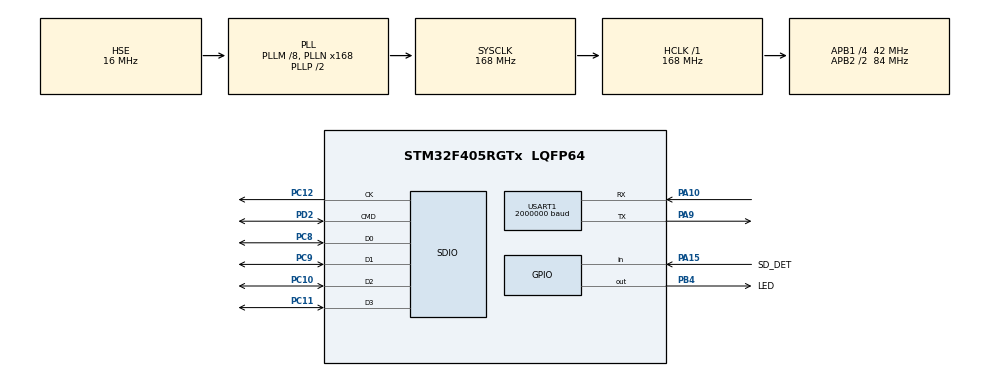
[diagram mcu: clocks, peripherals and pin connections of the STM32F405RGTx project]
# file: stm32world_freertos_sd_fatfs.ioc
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Dma.Request0=SDIO
Dma.SDIO.0.Direction=DMA_PERIPH_TO_MEMORY
Dma.SDIO.0.FIFOMode=DMA_FIFOMODE_ENABLE
Dma.SDIO.0.FIFOThreshold=DMA_FIFO_THRESHOLD_FULL
Dma.SDIO.0.Instance=DMA2_Stream3
Dma.SDIO.0.MemBurst=DMA_MBURST_INC4
Dma.SDIO.0.MemDataAlignment=DMA_MDATAALIGN_WORD
Dma.SDIO.0.MemInc=DMA_MINC_ENABLE
Dma.SDIO.0.Mode=DMA_PFCTRL
Dma.SDIO.0.PeriphBurst=DMA_PBURST_INC4
Dma.SDIO.0.PeriphDataAlignment=DMA_PDATAALIGN_WORD
Dma.SDIO.0.PeriphInc=DMA_PINC_DISABLE
Dma.SDIO.0.Priority=DMA_PRIORITY_LOW
FATFS.BSP.number=1
FATFS.USE_DMA_CODE_SD=1
FATFS._FS_EXFAT=1
FATFS._FS_REENTRANT=0
FATFS._USE_CHMOD=1
FATFS._USE_FIND=1
FATFS._USE_FORWARD=1
FATFS._USE_LABEL=1
FATFS._USE_LFN=2
FATFS._USE_MUTEX=1
FATFS._VOLUMES=8
FATFS0.BSP.STBoard=false
FATFS0.BSP.api=Unknown
FATFS0.BSP.instance=PA15
FATFS0.BSP.ip=GPIO
FATFS0.BSP.mode=Input
FATFS0.BSP.name=Detect_SDIO
FATFS0.BSP.solution=PA15
FREERTOS.INCLUDE_uxTaskGetStackHighWaterMark2=1
FREERTOS.Mutexes01=ledMutex,Dynamic,NULL,Available;printMutex,Dynamic,NULL,Available
FREERTOS.Tasks01=defaultTask,24,128,StartDefaultTask,Default,NULL,Dynamic,NULL,NULL;ledTask,8,128,StartLedTask,Default,NULL,Dynamic,NULL,NULL;tickTask,8,512,StartTickTask,Default,NULL,Dynamic,NULL,NULL;statusTask,8,256,StartStatusTask,Default,NULL,Dynamic,NULL,NULL;benchTask,8,512,StartBenchTask,Default,NULL,Dynamic,NULL,NULL
FREERTOS.configENABLE_FPU=1
FREERTOS.configGENERATE_RUN_TIME_STATS=1
FREERTOS.configRECORD_STACK_HIGH_ADDRESS=1
FREERTOS.configTOTAL_HEAP_SIZE=65536
FREERTOS.configUSE_NEWLIB_REENTRANT=1
FREERTOS.configUSE_STATS_FORMATTING_FUNCTIONS=1
Mcu.Family=STM32F4
Mcu.Name=STM32F405RGTx
Mcu.Package=LQFP64
NVIC.DMA2_Stream3_IRQn=true\:5\:0\:false\:false\:true\:true\:false\:true\:true
NVIC.PriorityGroup=NVIC_PRIORITYGROUP_4
NVIC.SDIO_IRQn=true\:5\:0\:false\:false\:true\:true\:true\:true\:true
NVIC.TIM8_TRG_COM_TIM14_IRQn=true\:15\:0\:false\:false\:true\:false\:false\:true\:true
NVIC.TIM8_UP_TIM13_IRQn=true\:5\:0\:false\:false\:true\:true\:true\:true\:true
NVIC.TimeBase=TIM8_TRG_COM_TIM14_IRQn
NVIC.TimeBaseIP=TIM14
PA10.Mode=Asynchronous
PA10.Signal=USART1_RX
PA13.Mode=Serial_Wire
PA13.Signal=SYS_JTMS-SWDIO
PA14.Mode=Serial_Wire
PA14.Signal=SYS_JTCK-SWCLK
PA15.GPIO_Label=SD_DET
PA15.GPIO_PuPd=GPIO_PULLDOWN
PA15.Signal=GPIO_Input
PA9.Mode=Asynchronous
PA9.Signal=USART1_TX
PB4.GPIO_Label=LED
PB4.GPIO_ModeDefaultOutputPP=GPIO_MODE_OUTPUT_OD
PB4.GPIO_PuPd=GPIO_NOPULL
PB4.PinState=GPIO_PIN_SET
PB4.Signal=GPIO_Output
PC10.Mode=SD_4_bits_Wide_bus
PC10.Signal=SDIO_D2
PC11.Mode=SD_4_bits_Wide_bus
PC11.Signal=SDIO_D3
PC12.Mode=SD_4_bits_Wide_bus
PC12.Signal=SDIO_CK
PC8.Mode=SD_4_bits_Wide_bus
PC8.Signal=SDIO_D0
PC9.Mode=SD_4_bits_Wide_bus
PC9.Signal=SDIO_D1
PD2.Mode=SD_4_bits_Wide_bus
PD2.Signal=SDIO_CMD
PH0-OSC_IN.Mode=HSE-External-Oscillator
PH0-OSC_IN.Signal=RCC_OSC_IN
PH1-OSC_OUT.Mode=HSE-External-Oscillator
PH1-OSC_OUT.Signal=RCC_OSC_OUT
ProjectManager.HeapSize=0x200
ProjectManager.StackSize=0x400
ProjectManager.TargetToolchain=STM32CubeIDE
RCC.48MHZClocksFreq_Value=48000000
RCC.AHBFreq_Value=168000000
RCC.APB1CLKDivider=RCC_HCLK_DIV4
RCC.APB1Freq_Value=42000000
RCC.APB1TimFreq_Value=84000000
RCC.APB2CLKDivider=RCC_HCLK_DIV2
RCC.APB2Freq_Value=84000000
RCC.APB2TimFreq_Value=168000000
RCC.CortexFreq_Value=168000000
RCC.HCLKFreq_Value=168000000
RCC.HSE_VALUE=16000000
RCC.HSI_VALUE=16000000
RCC.LSE_VALUE=32768
RCC.PLLM=8
RCC.PLLN=168
RCC.PLLQ=7
RCC.PLLSourceVirtual=RCC_PLLSOURCE_HSE
RCC.SYSCLKFreq_VALUE=168000000
RCC.SYSCLKSource=RCC_SYSCLKSOURCE_PLLCLK
RCC.VCOOutputFreq_Value=336000000
TIM13.Period=10 - 1
TIM13.Prescaler=84 - 1
USART1.BaudRate=2000000
USART1.VirtualMode=VM_ASYNC
VP_FATFS_VS_SDIO.Mode=SDIO
VP_FREERTOS_VS_CMSIS_V2.Mode=CMSIS_V2
VP_SYS_VS_tim14.Mode=TIM14
VP_TIM13_VS_ClockSourceINT.Mode=Enable_Timer
board=custom

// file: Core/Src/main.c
/* USER CODE BEGIN Header */
/**
 ******************************************************************************
 * @file           : main.c
 * @brief          : Main program body
 ******************************************************************************
 * @attention
 *
 * Copyright (c) 2024 Lars Boegild Thomsen <lbthomsen@gmail.com>
 * All rights reserved.
 *
 * This software is licensed under terms that can be found in the LICENSE file
 * in the root directory of this software component.
 * If no LICENSE file comes with this software, it is provided AS-IS.
 *
 ******************************************************************************
 */
/* USER CODE END Header */
#include "main.h"
#include "cmsis_os.h"
#include "fatfs.h"

/* USER CODE BEGIN Includes */
#include <stdio.h>
/* USER CODE END Includes */

SD_HandleTypeDef hsd;
DMA_HandleTypeDef hdma_sdio;

TIM_HandleTypeDef htim13;

UART_HandleTypeDef huart1;

/* Definitions for defaultTask */
osThreadId_t defaultTaskHandle;
const osThreadAttr_t defaultTask_attributes = {
        .name = "defaultTask",
        .stack_size = 128 * 4,
        .priority = (osPriority_t) osPriorityNormal,
};
/* Definitions for ledTask */
osThreadId_t ledTaskHandle;
const osThreadAttr_t ledTask_attributes = {
        .name = "ledTask",
        .stack_size = 128 * 4,
        .priority = (osPriority_t) osPriorityLow,
};
/* Definitions for tickTask */
osThreadId_t tickTaskHandle;
const osThreadAttr_t tickTask_attributes = {
        .name = "tickTask",
        .stack_size = 512 * 4,
        .priority = (osPriority_t) osPriorityLow,
};
/* Definitions for statusTask */
osThreadId_t statusTaskHandle;
const osThreadAttr_t statusTask_attributes = {
        .name = "statusTask",
        .stack_size = 256 * 4,
        .priority = (osPriority_t) osPriorityLow,
};
/* Definitions for benchTask */
osThreadId_t benchTaskHandle;
const osThreadAttr_t benchTask_attributes = {
        .name = "benchTask",
        .stack_size = 512 * 4,
        .priority = (osPriority_t) osPriorityLow,
};
/* Definitions for ledMutex */
osMutexId_t ledMutexHandle;
const osMutexAttr_t ledMutex_attributes = {
        .name = "ledMutex"
};
/* Definitions for printMutex */
osMutexId_t printMutexHandle;
const osMutexAttr_t printMutex_attributes = {
        .name = "printMutex"
};
/* USER CODE BEGIN PV */

const char total_uptime_filename[] = "uptime.dat";

uint32_t total_uptime = 0;

// Counter updated from high freq timer
volatile unsigned long ulHighFrequencyTimerTicks;

// Pre-allocate all the heap for FreeRTOS.  FreeRTOS will do this by itself if this define is
// not set.
#ifdef configAPPLICATION_ALLOCATED_HEAP
uint8_t ucHeap[configTOTAL_HEAP_SIZE] __attribute__((section(".ccmram"))); // Put in ccmram
#endif

int32_t a[10000] = { 0 };

/* USER CODE END PV */

void SystemClock_Config(void);
static void MX_GPIO_Init(void);
static void MX_DMA_Init(void);
static void MX_SDIO_SD_Init(void);
static void MX_USART1_UART_Init(void);
static void MX_TIM13_Init(void);
void StartDefaultTask(void *argument);
void StartLedTask(void *argument);
void StartTickTask(void *argument);
void StartStatusTask(void *argument);
void StartBenchTask(void *argument);

/* USER CODE BEGIN 0 */

// Send printf to uart1
int _write(int fd, char *ptr, int len) {
    HAL_StatusTypeDef hstatus;

    if (fd == 1 || fd == 2) {
        hstatus = HAL_UART_Transmit(&huart1, (uint8_t*) ptr, len, HAL_MAX_DELAY);
        if (hstatus == HAL_OK)
            return len;
        else
            return -1;
    }
    return -1;
}

void configureTimerForRunTimeStats(void) {
    ulHighFrequencyTimerTicks = 0;
    HAL_TIM_Base_Start_IT(&htim13);
}

unsigned long getRunTimeCounterValue(void) {
    return ulHighFrequencyTimerTicks;
}

/* USER CODE END 0 */

int main(void)
{

    /* MCU Configuration--------------------------------------------------------*/

    /* Reset of all peripherals, Initializes the Flash interface and the Systick. */
    HAL_Init();

    /* Configure the system clock */
    SystemClock_Config();

    /* Initialize all configured peripherals */
    MX_GPIO_Init();
    MX_DMA_Init();
    MX_SDIO_SD_Init();
    MX_USART1_UART_Init();
    MX_FATFS_Init();
    MX_TIM13_Init();
    /* USER CODE BEGIN 2 */

    printf("\n\n\n\n--------\nStarting\n");

    uint32_t wbytes, rbytes; /* File write counts */

    if (f_mount(&SDFatFS, (TCHAR const*) SDPath, 0) != FR_OK) {
        printf("Unable to mount disk\n");
        Error_Handler();
    }

    if (f_open(&SDFile, total_uptime_filename, FA_OPEN_EXISTING | FA_READ) == FR_OK) {
        if (f_read(&SDFile, &total_uptime, sizeof(total_uptime), (void*) &rbytes) == FR_OK) {
            printf("Total uptime = %lu\n", total_uptime);
            f_close(&SDFile);
        } else {
            printf("Unable to read\n");
            Error_Handler();
        }
    } else {
        // File did not exist - let's create it
        if (f_open(&SDFile, total_uptime_filename, FA_CREATE_ALWAYS | FA_WRITE) == FR_OK) {
            if (f_write(&SDFile, &total_uptime, sizeof(total_uptime), (void*) &wbytes) == FR_OK) {
                printf("File %s created\n", total_uptime_filename);
                f_close(&SDFile);
            } else {
                printf("Unable to write\n");
                Error_Handler();
            }
        } else {
            printf("Unable to create\n");
            Error_Handler();
        }
    }

    /* USER CODE END 2 */

    /* Init scheduler */
    osKernelInitialize();
    /* Create the mutex(es) */
    /* creation of ledMutex */
    ledMutexHandle = osMutexNew(&ledMutex_attributes);

    /* creation of printMutex */
    printMutexHandle = osMutexNew(&printMutex_attributes);

    /* Create the thread(s) */
    /* creation of defaultTask */
    defaultTaskHandle = osThreadNew(StartDefaultTask, NULL, &defaultTask_attributes);

    /* creation of ledTask */
    ledTaskHandle = osThreadNew(StartLedTask, NULL, &ledTask_attributes);

    /* creation of tickTask */
    tickTaskHandle = osThreadNew(StartTickTask, NULL, &tickTask_attributes);

    /* creation of statusTask */
    statusTaskHandle = osThreadNew(StartStatusTask, NULL, &statusTask_attributes);

    /* creation of benchTask */
    benchTaskHandle = osThreadNew(StartBenchTask, NULL, &benchTask_attributes);

    /* Start scheduler */
    osKernelStart();

    /* We should never get here as control is now taken by the scheduler */

    /* Infinite loop */
    while (1) {

    }
}

void SystemClock_Config(void)
{
    RCC_OscInitTypeDef RCC_OscInitStruct = { 0 };
    RCC_ClkInitTypeDef RCC_ClkInitStruct = { 0 };

    /** Configure the main internal regulator output voltage
     */
    __HAL_RCC_PWR_CLK_ENABLE();
    __HAL_PWR_VOLTAGESCALING_CONFIG(PWR_REGULATOR_VOLTAGE_SCALE1);

    /** Initializes the RCC Oscillators according to the specified parameters
     * in the RCC_OscInitTypeDef structure.
     */
    RCC_OscInitStruct.OscillatorType = RCC_OSCILLATORTYPE_HSE;
    RCC_OscInitStruct.HSEState = RCC_HSE_ON;
    RCC_OscInitStruct.PLL.PLLState = RCC_PLL_ON;
    RCC_OscInitStruct.PLL.PLLSource = RCC_PLLSOURCE_HSE;
    RCC_OscInitStruct.PLL.PLLM = 8;
    RCC_OscInitStruct.PLL.PLLN = 168;
    RCC_OscInitStruct.PLL.PLLP = RCC_PLLP_DIV2;
    RCC_OscInitStruct.PLL.PLLQ = 7;
    if (HAL_RCC_OscConfig(&RCC_OscInitStruct) != HAL_OK)
            {
        Error_Handler();
    }

    /** Initializes the CPU, AHB and APB buses clocks
     */
    RCC_ClkInitStruct.ClockType = RCC_CLOCKTYPE_HCLK | RCC_CLOCKTYPE_SYSCLK
            | RCC_CLOCKTYPE_PCLK1 | RCC_CLOCKTYPE_PCLK2;
    RCC_ClkInitStruct.SYSCLKSource = RCC_SYSCLKSOURCE_PLLCLK;
    RCC_ClkInitStruct.AHBCLKDivider = RCC_SYSCLK_DIV1;
    RCC_ClkInitStruct.APB1CLKDivider = RCC_HCLK_DIV4;
    RCC_ClkInitStruct.APB2CLKDivider = RCC_HCLK_DIV2;

    if (HAL_RCC_ClockConfig(&RCC_ClkInitStruct, FLASH_LATENCY_5) != HAL_OK)
            {
        Error_Handler();
    }
}

static void MX_SDIO_SD_Init(void)
{

    hsd.Instance = SDIO;
    hsd.Init.ClockEdge = SDIO_CLOCK_EDGE_RISING;
    hsd.Init.ClockBypass = SDIO_CLOCK_BYPASS_DISABLE;
    hsd.Init.ClockPowerSave = SDIO_CLOCK_POWER_SAVE_DISABLE;
    hsd.Init.BusWide = SDIO_BUS_WIDE_4B;
    hsd.Init.HardwareFlowControl = SDIO_HARDWARE_FLOW_CONTROL_DISABLE;
    hsd.Init.ClockDiv = 0;
    /* USER CODE BEGIN SDIO_Init 2 */
    hsd.Init.BusWide = SDIO_BUS_WIDE_1B;
    /* USER CODE END SDIO_Init 2 */

}

static void MX_TIM13_Init(void)
{

    htim13.Instance = TIM13;
    htim13.Init.Prescaler = 84 - 1;
    htim13.Init.CounterMode = TIM_COUNTERMODE_UP;
    htim13.Init.Period = 10 - 1;
    htim13.Init.ClockDivision = TIM_CLOCKDIVISION_DIV1;
    htim13.Init.AutoReloadPreload = TIM_AUTORELOAD_PRELOAD_DISABLE;
    if (HAL_TIM_Base_Init(&htim13) != HAL_OK)
            {
        Error_Handler();
    }

}

static void MX_USART1_UART_Init(void)
{

    huart1.Instance = USART1;
    huart1.Init.BaudRate = 2000000;
    huart1.Init.WordLength = UART_WORDLENGTH_8B;
    huart1.Init.StopBits = UART_STOPBITS_1;
    huart1.Init.Parity = UART_PARITY_NONE;
    huart1.Init.Mode = UART_MODE_TX_RX;
    huart1.Init.HwFlowCtl = UART_HWCONTROL_NONE;
    huart1.Init.OverSampling = UART_OVERSAMPLING_16;
    if (HAL_UART_Init(&huart1) != HAL_OK)
            {
        Error_Handler();
    }

}

static void MX_DMA_Init(void)
{

    /* DMA controller clock enable */
    __HAL_RCC_DMA2_CLK_ENABLE();

    /* DMA interrupt init */
    /* DMA2_Stream3_IRQn interrupt configuration */
    HAL_NVIC_SetPriority(DMA2_Stream3_IRQn, 5, 0);
    HAL_NVIC_EnableIRQ(DMA2_Stream3_IRQn);

}

static void MX_GPIO_Init(void)
{
    GPIO_InitTypeDef GPIO_InitStruct = { 0 };

    /* GPIO Ports Clock Enable */
    __HAL_RCC_GPIOH_CLK_ENABLE();
    __HAL_RCC_GPIOC_CLK_ENABLE();
    __HAL_RCC_GPIOA_CLK_ENABLE();
    __HAL_RCC_GPIOD_CLK_ENABLE();
    __HAL_RCC_GPIOB_CLK_ENABLE();

    /*Configure GPIO pin Output Level */
    HAL_GPIO_WritePin(LED_GPIO_Port, LED_Pin, GPIO_PIN_SET);

    /*Configure GPIO pin : SD_DET_Pin */
    GPIO_InitStruct.Pin = SD_DET_Pin;
    GPIO_InitStruct.Mode = GPIO_MODE_INPUT;
    GPIO_InitStruct.Pull = GPIO_PULLDOWN;
    HAL_GPIO_Init(SD_DET_GPIO_Port, &GPIO_InitStruct);

    /*Configure GPIO pin : LED_Pin */
    GPIO_InitStruct.Pin = LED_Pin;
    GPIO_InitStruct.Mode = GPIO_MODE_OUTPUT_OD;
    GPIO_InitStruct.Pull = GPIO_NOPULL;
    GPIO_InitStruct.Speed = GPIO_SPEED_FREQ_LOW;
    HAL_GPIO_Init(LED_GPIO_Port, &GPIO_InitStruct);

}

void StartDefaultTask(void *argument)
{
    for (;;)
            {
        osDelay(1);
    }
}

void StartLedTask(void *argument)
{
    /* USER CODE BEGIN StartLedTask */
    /* Infinite loop */
    for (;;) {
        osDelay(500);
        HAL_GPIO_TogglePin(LED_GPIO_Port, LED_Pin);
    }
    /* USER CODE END StartLedTask */
}

void StartTickTask(void *argument)
{
    /* USER CODE BEGIN StartTickTask */

    /* Infinite loop */
    for (;;) {

        osDelay(1000);

        ++total_uptime;

        osMutexWait(printMutexHandle, osWaitForever);
        printf("Tick %lu (total = %lu)\n", osKernelGetTickCount() / 1000, total_uptime);
        osMutexRelease(printMutexHandle);

        uint32_t wbytes;
        if (f_open(&SDFile, total_uptime_filename, FA_OPEN_EXISTING | FA_WRITE) == FR_OK) {
            if (f_write(&SDFile, &total_uptime, sizeof(total_uptime), (void*) &wbytes) != FR_OK) {
                printf("Unable to write\n");
            }
            f_close(&SDFile);
        } else {
            printf("Unable to open file\n");
        }

    }
    /* USER CODE END StartTickTask */
}

void StartStatusTask(void *argument)
{
    /* USER CODE BEGIN StartStatusTask */
    TaskStatus_t *pxTaskStatusArray;
    volatile UBaseType_t uxArraySize, x;
    unsigned long ulTotalRunTime;
    float runtime_percentage;

    /* Infinite loop */
    for (;;) {

        osDelay(10000);

        uxArraySize = uxTaskGetNumberOfTasks();
        pxTaskStatusArray = pvPortMalloc(uxArraySize * sizeof(TaskStatus_t)); // a little bit scary!

        osMutexWait(printMutexHandle, osWaitForever);

        if (pxTaskStatusArray != NULL) {

            uxArraySize = uxTaskGetSystemState(pxTaskStatusArray, uxArraySize,
                    &ulTotalRunTime);

            printf("Task count = %lu\n", uxArraySize);
            printf("No       Name          P  S   Usage       Count      HW\n");

            for (x = 0; x < uxArraySize; x++) {

                runtime_percentage = (float) (100
                        * (float) pxTaskStatusArray[x].ulRunTimeCounter
                        / (float) ulTotalRunTime);

                printf("Task %2lu: %-12s %2lu %2d %8.4f (%12lu) %5i\n",
                        x,
                        pxTaskStatusArray[x].pcTaskName,
                        pxTaskStatusArray[x].uxCurrentPriority,
                        pxTaskStatusArray[x].eCurrentState,
                        runtime_percentage,
                        pxTaskStatusArray[x].ulRunTimeCounter,
                        pxTaskStatusArray[x].usStackHighWaterMark);

            }

            vPortFree(pxTaskStatusArray);

        } else {
            printf("Unable to allocate stack space\n");
        }

        osMutexRelease(printMutexHandle);

    }

    /* USER CODE END StartStatusTask */
}

void StartBenchTask(void *argument)
{
    /* USER CODE BEGIN StartBenchTask */
    /* Infinite loop */
    for (;;) {

        int u = 5000;
        int r = rand() % 10000;              // Get a random integer 0 <= r < 10k

        for (int i = 0; i < 10000; i++) {    // 10k outer loop iterations
            for (int j = 0; j < 100000; j++) { // 100k inner loop iterations, per outer loop iteration
                a[i] = a[i] + j % u;               // Simple sum
            }
            a[i] += r;                         // Add a random value to each element in array
        }

        osMutexWait(printMutexHandle, osWaitForever);
        printf("Bench: %lu\n", a[r]);                // Print out a single element from the array
        osMutexRelease(printMutexHandle);

        osDelay(10000);
    }
    /* USER CODE END StartBenchTask */
}

void HAL_TIM_PeriodElapsedCallback(TIM_HandleTypeDef *htim)
{
    if (htim->Instance == TIM14) {
        HAL_IncTick();
    }
}

void Error_Handler(void)
{
    __disable_irq();
    while (1)
    {
    }
}
